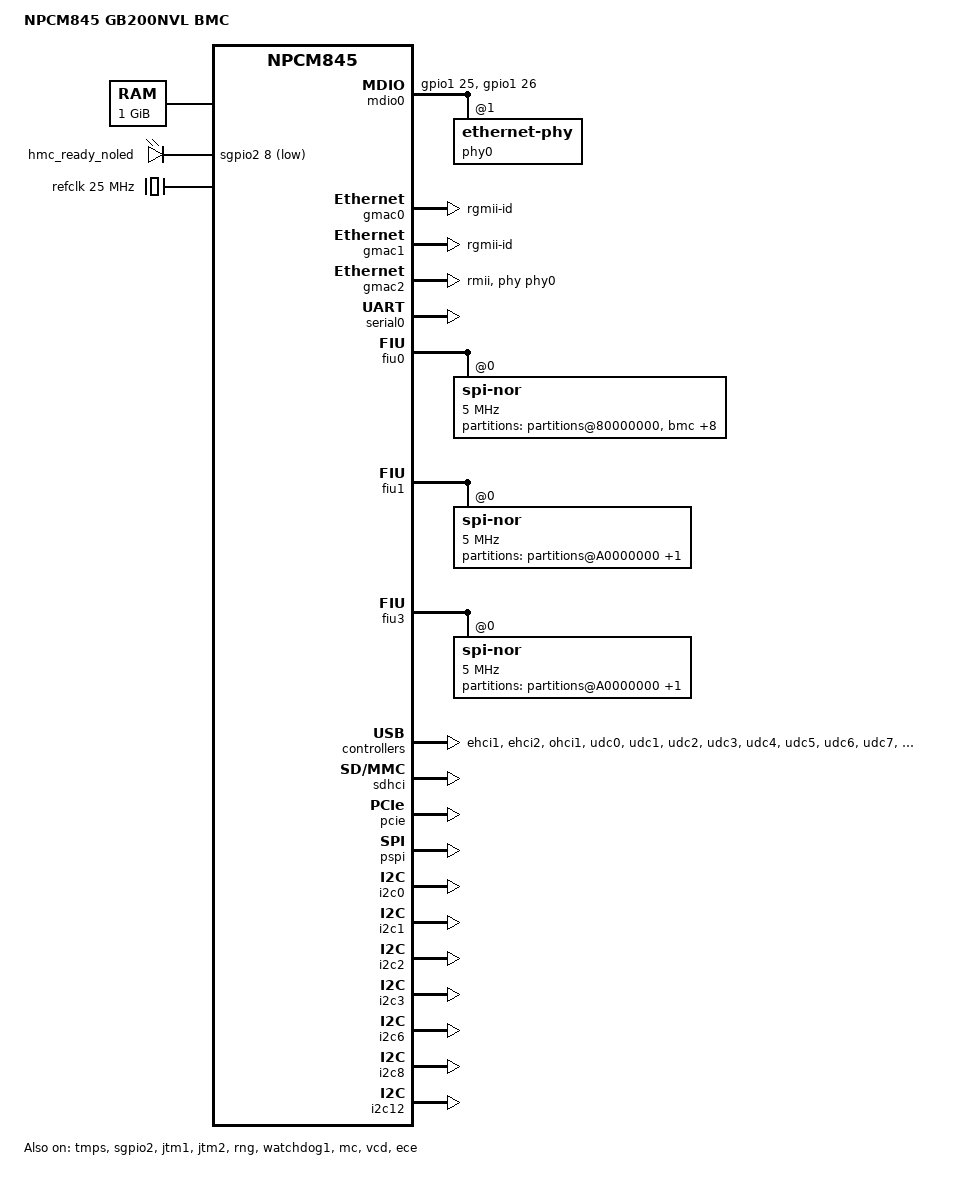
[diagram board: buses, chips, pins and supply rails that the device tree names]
// SPDX-License-Identifier: GPL-2.0
// Copyright (c) 2021 Nuvoton Technology tomer.maimon@nuvoton.com

/dts-v1/;
#include "nuvoton-npcm845.dtsi"
#include <dt-bindings/leds/common.h>

/ {
	model = "NPCM845 GB200NVL BMC";
	compatible = "nuvoton,npcm845-evb", "nuvoton,npcm845";

	aliases {
		serial0 = &serial0;
		ethernet0 = &gmac0;
		ethernet1 = &gmac1;
		ethernet2 = &gmac2;
		ethernet3 = &gmac3;
		mdio-gpio0 = &mdio0;
		udc0 = &udc0;
		udc1 = &udc1;
		udc2 = &udc2;
		udc3 = &udc3;
		udc4 = &udc4;
		udc5 = &udc5;
		udc6 = &udc6;
		udc7 = &udc7;
		fiu0 = &fiu0;
		fiu1 = &fiu3;
		fiu2 = &fiux;
		fiu3 = &fiu1;
		i2c0 = &i2c0;
		i2c1 = &i2c1;
		i2c2 = &i2c2;
		i2c3 = &i2c3;
		i2c6 = &i2c6;
		i2c8 = &i2c8;
		i2c12 = &i2c12;
	};

	chosen {
		stdout-path = &serial0;
	};

	memory {
		reg = <0x0 0x0 0x0 0x40000000>;
	};

    leds {
        compatible = "gpio-leds";
        hmc_ready_noled {
            gpios = <&sgpio2 8 GPIO_ACTIVE_LOW>;
        };
    };

	refclk: refclk-25mhz {
		compatible = "fixed-clock";
		clock-output-names = "ref";
		clock-frequency = <25000000>;
		#clock-cells = <0>;
	};

	reserved-memory {
		#address-cells = <2>;
		#size-cells = <2>;
		ranges;

		tip_reserved: tip@0x0 {
			reg = <0x0 0x0 0x0 0x6200000>;
		};
	};


	mdio0: mdio@0 {
		compatible = "virtual,mdio-gpio";
		gpios = <&gpio1 25 GPIO_ACTIVE_HIGH>,
			<&gpio1 26 GPIO_ACTIVE_HIGH>; 
		#address-cells = <1>;
		#size-cells = <0>;

		phy0: ethernet-phy@1 {
		};
	};

	tip_sram: sram@fffce000 {
		compatible = "mmio-sram";
		reg = <0 0xfffce000 0 0x1000>;
		#address-cells = <1>;
		#size-cells = <1>;
		ranges = <0 0 0xfffce000 0x1000>;
		ch0_shm: ch_shm@0 {
			reg = <0 0x1000>;
		};
	};

	tip {
		compatible = "nuvoton,cerberus";
		mboxes = <&tip_mbox 0 16>; /*channel 0, 16th doorbell */
		mbox-names = "cerberus";
		shmem = <&ch0_shm>;
		status = "okay";
	};

};

&gmac0 {
	phy-mode = "rgmii-id";
	snps,eee-force-disable;
	status = "okay";
};

&gmac1 {
	phy-mode = "rgmii-id";
	snps,eee-force-disable;
	status = "okay";
};

&gmac2 {
	phy-mode = "rmii";
	pinctrl-names = "default";
	pinctrl-0 = <&r1_pins
			&r1oen_pins>;
	phy-handle = <&phy0>;
	status = "okay";
};

&tmps {
	status = "okay";
};

&sgpio2 {
	status = "okay";
	gpio-line-names =
		"","","","","","","","",
		"","","","","","","","",
		"","","","","","","","",
		"","","","","","","","",
		"","","","","","","","",
		"","","","","","","","",
		"","","","","","","","",
		"","","","","","","","",
		"FPGA0_READY-I","FPGA1_READY-I","PS_RUN_PWR_PG-I","HMC_GLOBAL_WP-I","","","","",
		"","","","","","","","",
		"","","","","","","","",
		"","","","","","","","",
		"","","","","","","","",
		"","","","","","","","",
		"","","","","","","","",
		"","","","","","","","";
};

&serial0 {
	status = "okay";
};

&fiu0 {
	status = "okay";
	spi-nor@0 {
		compatible = "jedec,spi-nor";
		#address-cells = <1>;
		#size-cells = <1>;
		spi-rx-bus-width = <1>;
		reg = <0>;
		spi-max-frequency = <5000000>;
		partitions@80000000 {
			compatible = "fixed-partitions";
			#address-cells = <1>;
			#size-cells = <1>;
			bmc@0 {
				label = "bmc";
				reg = <0x00000000 0x04000000>;
				};
			u-boot@0 {
				label = "u-boot";
				reg = <0x00000000 0x003C0000>;
				};
			u-boot-env@3c0000 {
				label = "u-boot-env";
				reg = <0x003C0000 0x00040000>;
				};
			kernel@400000 {
				label = "kernel";
				reg = <0x00400000 0x00800000>;
				};
			rofs@c00000 {
				label = "rofs";
				reg = <0x00c00000 0x03400000>;
				};
			dummy@4000000 {
				label = "dummy";
				reg = <0x4000000 0x1000000>;
				};
			rwfs@4000000 {
				label = "rwfs";
				reg = <0x4000000 0x1000000>;
				};
			log@4000000 {
				label = "log";
				reg = <0x5000000 0x2000000>;
				};
            cfg-env@0 {
                reg = <0x7000000 0x10000>;            // 128KB at offset 0
                label = "pciechip_config";
            };
		};
	};
};

&fiu1 {
	/*pinctrl-0 = <&spi1_pins>, <&spi1quad_pins>;*/
	status = "okay";
	spi-nor@0 {
		compatible = "jedec,spi-nor";
		#address-cells = <1>;
		#size-cells = <1>;
		spi-rx-bus-width = <2>;
		spi-tx-bus-width = <2>;
		reg = <0>;
		spi-max-frequency = <5000000>;
		partitions@A0000000 {
			compatible = "fixed-partitions";
			#address-cells = <1>;
			#size-cells = <1>;
			system1@0 {
				label = "spi1-system1";
				reg = <0x0 0x0>;
			};
		};
	};
};

&fiu3 {
	pinctrl-0 = <&spi3_pins>, <&spi3quad_pins>;
	status = "okay";
	spi-nor@0 {
		compatible = "jedec,spi-nor";
		#address-cells = <1>;
		#size-cells = <1>;
		spi-rx-bus-width = <1>;
		reg = <0>;
		spi-max-frequency = <5000000>;
		partitions@A0000000 {
			compatible = "fixed-partitions";
			#address-cells = <1>;
			#size-cells = <1>;
			system1@0 {
				label = "spi3-system1";
				reg = <0x0 0x0>;
			};
		};
	};
};

&fiux {
	spix-mode;
};

&ehci1 {
	status = "okay";
};

&ehci2 {
	status = "okay";
};

&ohci1 {
        status = "okay";
};

&sdhci {
	status = "okay";
};

&pcie {
	/* used for e1000e PCI -> AXI window opening */
	dma-ranges = <0x02000000 0 0x00000000 0x0 0x00000000 0 0x40000000>;
	npcm-pci-ep-rst = <&gpio3 24 1>;
	status = "okay";
};

&pcimbox {
	status = "okay";
};

&udc0 {
	status = "okay";
};

&udc1 {
	status = "okay";
};

&udc2 {
	status = "okay";
};

&udc3 {
	status = "okay";
};

&udc4 {
	status = "okay";
};

&udc5 {
	status = "okay";
};

&udc6 {
	status = "okay";
};

&udc7 {
	status = "okay";
};

&udc8 {
	status = "okay";
};

&gcr {
	udc9_mux: mux-controller {
		compatible = "mmio-mux";
		#mux-control-cells = <1>;
		mux-reg-masks = <0x9C 0x3000>;
		idle-states = <0x3000>;
	};
};


&jtm1 {
	status = "okay";
};

&jtm2 {
	status = "okay";
};


&rng {
	status = "okay";
};

&watchdog1 {
	status = "okay";
};


&pspi {
	cs-gpios = <&gpio0 20 GPIO_ACTIVE_LOW>;
	status = "okay";
};

&i2c0 {
	status = "okay";
};

&i2c1 {
	status = "okay";
};

&i2c2 {
	status = "okay";
};

&i2c3 {
	status = "okay";
};

&i2c6 {
	status = "okay";
};

&i2c8 {
	status = "okay";
};

&i2c12 {
	status = "okay";
};

&mc {
	status = "okay";
};

&pinctrl {
	pinctrl-names = "default";
};

&vcd {
	status = "okay";
};

&ece {
	status = "okay";
};

&tip_mbox {
	status = "okay";
};
